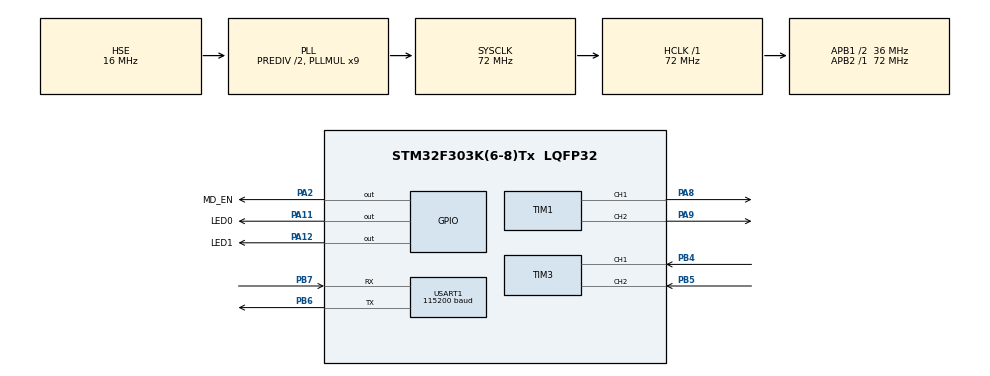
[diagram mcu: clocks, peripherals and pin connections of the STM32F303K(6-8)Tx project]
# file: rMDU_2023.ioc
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Mcu.Family=STM32F3
Mcu.Name=STM32F303K(6-8)Tx
Mcu.Package=LQFP32
NVIC.PriorityGroup=NVIC_PRIORITYGROUP_4
NVIC.TIM2_IRQn=true\:0\:0\:false\:false\:true\:true\:true\:true
NVIC.USART1_IRQn=true\:0\:0\:false\:false\:true\:true\:true\:true
PA11.GPIO_Label=LED0
PA11.Signal=GPIO_Output
PA12.GPIO_Label=LED1
PA12.Signal=GPIO_Output
PA2.GPIO_Label=MD_EN
PA2.Signal=GPIO_Output
PA8.Signal=S_TIM1_CH1
PA9.Signal=S_TIM1_CH2
PB4.Signal=S_TIM3_CH1
PB5.Signal=S_TIM3_CH2
PB6.Mode=Asynchronous
PB6.Signal=USART1_TX
PB7.Mode=Asynchronous
PB7.Signal=USART1_RX
PF0\ /\ OSC_IN.Mode=HSE-External-Oscillator
PF0\ /\ OSC_IN.Signal=RCC_OSC_IN
PF1\ /\ OSC_OUT.Mode=HSE-External-Oscillator
PF1\ /\ OSC_OUT.Signal=RCC_OSC_OUT
ProjectManager.HeapSize=0x200
ProjectManager.StackSize=0x400
ProjectManager.TargetToolchain=STM32CubeIDE
RCC.AHBFreq_Value=72000000
RCC.APB1CLKDivider=RCC_HCLK_DIV2
RCC.APB1Freq_Value=36000000
RCC.APB1TimFreq_Value=72000000
RCC.APB2Freq_Value=72000000
RCC.APB2TimFreq_Value=72000000
RCC.CortexFreq_Value=72000000
RCC.HCLKFreq_Value=72000000
RCC.HSE_VALUE=16000000
RCC.HSI_VALUE=8000000
RCC.PLLMUL=RCC_PLL_MUL9
RCC.PLLSourceVirtual=RCC_PLLSOURCE_HSE
RCC.RCC_PLLsource_Clock_Source_FROM_HSE=RCC_HSE_PREDIV_DIV2
RCC.SYSCLKFreq_VALUE=72000000
RCC.SYSCLKSourceVirtual=RCC_SYSCLKSOURCE_PLLCLK
SH.S_TIM1_CH1.0=TIM1_CH1,PWM Generation1 CH1
SH.S_TIM1_CH2.0=TIM1_CH2,PWM Generation2 CH2
SH.S_TIM3_CH1.0=TIM3_CH1,Encoder_Interface
SH.S_TIM3_CH2.0=TIM3_CH2,Encoder_Interface
TIM1.Channel-PWM\ Generation1\ CH1=TIM_CHANNEL_1
TIM1.Channel-PWM\ Generation2\ CH2=TIM_CHANNEL_2
TIM2.Period=999
TIM2.Prescaler=31
USART1.BaudRate=115200
USART1.VirtualMode-Asynchronous=VM_ASYNC
VP_TIM2_VS_ClockSourceINT.Mode=Internal
board=custom

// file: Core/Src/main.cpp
/* USER CODE BEGIN Header */
/**
  ******************************************************************************
  * @file           : main.c
  * @brief          : Main program body
  ******************************************************************************
  * @attention
  *
  * Copyright (c) 2023 STMicroelectronics.
  * All rights reserved.
  *
  * This software is licensed under terms that can be found in the LICENSE file
  * in the root directory of this software component.
  * If no LICENSE file comes with this software, it is provided AS-IS.
  *
  ******************************************************************************
  */
/* USER CODE END Header */
#include "main.h"

/* USER CODE BEGIN Includes */
#define STM32_NAGA_LIB 1
#include "rotary-encoder.hpp"
#include <cmath>
/* USER CODE END Includes */

 TIM_HandleTypeDef htim1;
TIM_HandleTypeDef htim2;
TIM_HandleTypeDef htim3;

UART_HandleTypeDef huart1;

/* USER CODE BEGIN PV */
uint8_t recv_data[8];
/* USER CODE END PV */

void SystemClock_Config(void);
static void MX_GPIO_Init(void);
static void MX_TIM1_Init(void);
static void MX_TIM3_Init(void);
static void MX_TIM2_Init(void);
static void MX_USART1_UART_Init(void);

/* USER CODE BEGIN 0 */
float kp = 1500;
float ki = 0;

void HAL_UART_RxCpltCallback(UART_HandleTypeDef *huart){
	HAL_UART_Receive_IT(&huart1, recv_data, 8);

	if(recv_data[0] == 0x10 && recv_data[1] == 0x0f) {
		if(recv_data[2] == 0x01) kp = *(float*) (recv_data+4);
		if(recv_data[2] == 0x02) ki = *(float*) (recv_data+4);
	}
}

class MD_t{
	  int32_t val;
	  struct GPIO{
		  GPIO_TypeDef* port;
		  uint16_t pin;
	  }enable;

	  TIM_HandleTypeDef* tim;
	  uint32_t channel_a, channel_b;

public:
	  MD_t(GPIO_TypeDef* _port, uint16_t _pin, TIM_HandleTypeDef* _tim,uint32_t _channel_a, uint32_t _channel_b)
	  : tim(_tim), channel_a(_channel_a), channel_b(_channel_b){
		  enable.port = _port;
		  enable.pin  = _pin;
		  HAL_GPIO_WritePin(enable.port, enable.pin, GPIO_PIN_SET);
		  HAL_TIM_PWM_Start(tim, channel_a);
		  HAL_TIM_PWM_Start(tim, channel_b);
	  }

	  ~MD_t(){
		  HAL_GPIO_WritePin(enable.port, enable.pin, GPIO_PIN_RESET);
		  HAL_TIM_PWM_Stop(tim, TIM_CHANNEL_ALL);
	  }

	  void operator ()(int32_t pwm){
		  if(pwm){
			  __HAL_TIM_SET_COMPARE(tim, (pwm > 0) ? channel_a : channel_b , std::abs(pwm));
			  __HAL_TIM_SET_COMPARE(tim, (pwm < 0) ? channel_a : channel_b, 0);
		  } else {
			  __HAL_TIM_SET_COMPARE(tim, channel_a, 0);
			  __HAL_TIM_SET_COMPARE(tim, channel_b, 0);
		  }
	  }
};
/* USER CODE END 0 */

int main(void)
{

  /* MCU Configuration--------------------------------------------------------*/

  /* Reset of all peripherals, Initializes the Flash interface and the Systick. */
  HAL_Init();

  /* Configure the system clock */
  SystemClock_Config();

  /* Initialize all configured peripherals */
  MX_GPIO_Init();
  MX_TIM1_Init();
  MX_TIM3_Init();
  MX_TIM2_Init();
  MX_USART1_UART_Init();
  /* USER CODE BEGIN 2 */
  size_t down_counter = 0;
  constexpr float resolution = 5120 ;
  constexpr float one_resolution = 1/resolution;
  constexpr float rate       = 100;
  constexpr float dt         = 0.01;

  HAL_TIM_Base_Start_IT(&htim2);
  using namespace naga_libs;

  HAL_GPIO_WritePin(LED0_GPIO_Port, LED0_Pin, GPIO_PIN_SET);

  rotary_encoder_stm32 enc(&htim3);

  union uart_protocol {
	  struct{
		  uint16_t ID;   //ID: 0x10
		  uint16_t cmd;  //cmd: duty: 0x00, current: 0x01, spd_PID: 0x02, pos_PID: 0x03
		  float value;
	  };
	  uint8_t bin[8];
  }msg;

  constexpr uint16_t ID_val = 0x10;
  enum {
	  DUTY,
	  CURRENT,
	  SPD_PID,
	  POS_PID,
	  SET_P = 0xf0,
	  SET_I = 0xf1,
	  SET_D = 0xf2
  };

//  HAL_GPIO_WritePin(MD_EN_GPIO_Port, MD_EN_Pin, GPIO_PIN_SET);
//  HAL_TIM_PWM_Start(&htim1, TIM_CHANNEL_1);
//  HAL_TIM_PWM_Start(&htim1, TIM_CHANNEL_2);
//  __HAL_TIM_SET_COMPARE(&htim1, TIM_CHANNEL_1, 10000);

  MD_t MD(MD_EN_GPIO_Port, MD_EN_Pin, &htim1, TIM_CHANNEL_1, TIM_CHANNEL_2);

  MD(0);

  HAL_UART_Receive_IT(&huart1, recv_data, 8);

  auto PI_spd = [=](float target_spd, float now_spd){
	  static float integral_error = 0;

	  auto clamp = [](float input, float limit){
		  if(input > limit) return limit;
		  if(input < -limit) return -limit;
		  return input;
	  };

	  auto error = target_spd - now_spd;
	  integral_error += error * dt;
	  integral_error = clamp(integral_error, 30000.0/ki);

	  if(target_spd == 0.0f)
		  integral_error = 0.0f;

	  return error * kp + integral_error * ki;
  };

  static uint32_t last_ms = HAL_GetTick();

  /* USER CODE END 2 */

  /* Infinite loop */
  /* USER CODE BEGIN WHILE */
  while (1) {

#define ENC 0
#if ENC
	  static int32_t s = 0;
	  s += (int16_t)enc();
	  HAL_GPIO_WritePin(LED1_GPIO_Port, LED1_Pin, (s > 0) ? GPIO_PIN_SET: GPIO_PIN_RESET);
#endif
	  for(int i = 0; i < 8; i++) msg.bin[i] = recv_data[i];
	  if(msg.ID != ID_val) continue;
#define MD_TEST 0
#if MD_TEST
	  if(msg.cmd != DUTY) continue;
	  MD(10000*msg.value);

#endif

	  constexpr int32_t target_rotate = 14.0/(10.0*M_PI) * 5120.0 * 2;//TODO: NEED TO CHANGE
	  constexpr int32_t one_target_rotate = 3.0/(10.0*M_PI) * 5120.0 * 2;//todo need to change
#define EASY_POS 0
#if EASY_POS
	  if(msg.cmd != DUTY) continue;
	  if(!msg.value) continue;

	  int32_t now_rotate = 0;
	  while(now_rotate < target_rotate) {
		  MD(10000);// NEED TO CHANGE VALUE
		  now_rotate += (int16_t)enc();

		  while(last_ms + 10 > HAL_GetTick());
		  last_ms = HAL_GetTick();
		  now_rotate += (int16_t)enc();
	  }
	  MD(0);
#endif

#define PI 01
#if PI
	  if(msg.cmd != SPD_PID) continue;
	  int32_t now_rotate = 0;
	  if(msg.bin[5] != 0){
		  if((int8_t)msg.bin[5] < 0){
//			  if(down_counter == 0){
//				  while(now_rotate < init_target_rotate){
//
//					  auto enc_val = (int16_t)enc();
//					  now_rotate += enc_val;
//
//					  MD(PI_spd(4.0*M_PI, (float)enc_val * rate * one_resolution));
//
//					  while(last_ms + 10 > HAL_GetTick());
//					  last_ms = HAL_GetTick();
//				  }
//			  } else
			  {
				  while(now_rotate < target_rotate + ((down_counter == 0) ? one_target_rotate : 0)){

					  auto enc_val = (int16_t)enc();
					  now_rotate += enc_val;

					  MD(PI_spd(4.0*M_PI, (float)enc_val * rate * one_resolution));

					  while(last_ms + 10 > HAL_GetTick());
					  last_ms = HAL_GetTick();
				  }
			  }

			  down_counter++;
		  }

		  if((int8_t)msg.bin[5] > 0){
			  for(size_t i = 0; i < down_counter; i++){
				  int32_t now_rotate = 0;
				  while(now_rotate > -target_rotate - ((i == 0) ? one_target_rotate : 0)){

					  auto enc_val = (int16_t)enc();
					  now_rotate += enc_val;

					  MD(PI_spd(-4.0*M_PI, (float)enc_val * rate * one_resolution));

					  while(last_ms + 10 > HAL_GetTick());
					  last_ms = HAL_GetTick();
				  }
			  }
//
//			  int32_t now_rotate = 0;
//			  while(now_rotate > -init_target_rotate && down_counter==1) {
//
//				  auto enc_val = (int16_t)enc();
//				  now_rotate += enc_val;
//
//				  MD(PI_spd(4.0*M_PI, (float)enc_val * rate * one_resolution));
//
//				  while(last_ms + 10 > HAL_GetTick());
//				  last_ms = HAL_GetTick();
//			  }
			  down_counter = 0;
		  }

		  HAL_GPIO_WritePin(LED1_GPIO_Port, LED1_Pin, down_counter ? GPIO_PIN_SET : GPIO_PIN_RESET);

	  }
	  MD(0);
#endif

#define WHILE 0
#if WHILE

	  static int32_t counter;

	  if((int8_t)msg.bin[5] > 0) {
		  counter = 0;
	  }

#endif

    /* USER CODE END WHILE */

  }
}

void SystemClock_Config(void)
{
  RCC_OscInitTypeDef RCC_OscInitStruct = {0};
  RCC_ClkInitTypeDef RCC_ClkInitStruct = {0};
  RCC_PeriphCLKInitTypeDef PeriphClkInit = {0};

  /** Initializes the RCC Oscillators according to the specified parameters
  * in the RCC_OscInitTypeDef structure.
  */
  RCC_OscInitStruct.OscillatorType = RCC_OSCILLATORTYPE_HSE;
  RCC_OscInitStruct.HSEState = RCC_HSE_ON;
  RCC_OscInitStruct.HSEPredivValue = RCC_HSE_PREDIV_DIV2;
  RCC_OscInitStruct.HSIState = RCC_HSI_ON;
  RCC_OscInitStruct.PLL.PLLState = RCC_PLL_ON;
  RCC_OscInitStruct.PLL.PLLSource = RCC_PLLSOURCE_HSE;
  RCC_OscInitStruct.PLL.PLLMUL = RCC_PLL_MUL9;
  if (HAL_RCC_OscConfig(&RCC_OscInitStruct) != HAL_OK)
  {
    Error_Handler();
  }

  /** Initializes the CPU, AHB and APB buses clocks
  */
  RCC_ClkInitStruct.ClockType = RCC_CLOCKTYPE_HCLK|RCC_CLOCKTYPE_SYSCLK
                              |RCC_CLOCKTYPE_PCLK1|RCC_CLOCKTYPE_PCLK2;
  RCC_ClkInitStruct.SYSCLKSource = RCC_SYSCLKSOURCE_PLLCLK;
  RCC_ClkInitStruct.AHBCLKDivider = RCC_SYSCLK_DIV1;
  RCC_ClkInitStruct.APB1CLKDivider = RCC_HCLK_DIV2;
  RCC_ClkInitStruct.APB2CLKDivider = RCC_HCLK_DIV1;

  if (HAL_RCC_ClockConfig(&RCC_ClkInitStruct, FLASH_LATENCY_2) != HAL_OK)
  {
    Error_Handler();
  }
  PeriphClkInit.PeriphClockSelection = RCC_PERIPHCLK_USART1|RCC_PERIPHCLK_TIM1;
  PeriphClkInit.Usart1ClockSelection = RCC_USART1CLKSOURCE_PCLK1;
  PeriphClkInit.Tim1ClockSelection = RCC_TIM1CLK_HCLK;
  if (HAL_RCCEx_PeriphCLKConfig(&PeriphClkInit) != HAL_OK)
  {
    Error_Handler();
  }
}

static void MX_TIM1_Init(void)
{

  TIM_MasterConfigTypeDef sMasterConfig = {0};
  TIM_OC_InitTypeDef sConfigOC = {0};
  TIM_BreakDeadTimeConfigTypeDef sBreakDeadTimeConfig = {0};

  htim1.Instance = TIM1;
  htim1.Init.Prescaler = 0;
  htim1.Init.CounterMode = TIM_COUNTERMODE_UP;
  htim1.Init.Period = 65535;
  htim1.Init.ClockDivision = TIM_CLOCKDIVISION_DIV1;
  htim1.Init.RepetitionCounter = 0;
  htim1.Init.AutoReloadPreload = TIM_AUTORELOAD_PRELOAD_DISABLE;
  if (HAL_TIM_PWM_Init(&htim1) != HAL_OK)
  {
    Error_Handler();
  }
  sMasterConfig.MasterOutputTrigger = TIM_TRGO_RESET;
  sMasterConfig.MasterOutputTrigger2 = TIM_TRGO2_RESET;
  sMasterConfig.MasterSlaveMode = TIM_MASTERSLAVEMODE_DISABLE;
  if (HAL_TIMEx_MasterConfigSynchronization(&htim1, &sMasterConfig) != HAL_OK)
  {
    Error_Handler();
  }
  sConfigOC.OCMode = TIM_OCMODE_PWM1;
  sConfigOC.Pulse = 0;
  sConfigOC.OCPolarity = TIM_OCPOLARITY_HIGH;
  sConfigOC.OCNPolarity = TIM_OCNPOLARITY_HIGH;
  sConfigOC.OCFastMode = TIM_OCFAST_DISABLE;
  sConfigOC.OCIdleState = TIM_OCIDLESTATE_RESET;
  sConfigOC.OCNIdleState = TIM_OCNIDLESTATE_RESET;
  if (HAL_TIM_PWM_ConfigChannel(&htim1, &sConfigOC, TIM_CHANNEL_1) != HAL_OK)
  {
    Error_Handler();
  }
  if (HAL_TIM_PWM_ConfigChannel(&htim1, &sConfigOC, TIM_CHANNEL_2) != HAL_OK)
  {
    Error_Handler();
  }
  sBreakDeadTimeConfig.OffStateRunMode = TIM_OSSR_DISABLE;
  sBreakDeadTimeConfig.OffStateIDLEMode = TIM_OSSI_DISABLE;
  sBreakDeadTimeConfig.LockLevel = TIM_LOCKLEVEL_OFF;
  sBreakDeadTimeConfig.DeadTime = 0;
  sBreakDeadTimeConfig.BreakState = TIM_BREAK_DISABLE;
  sBreakDeadTimeConfig.BreakPolarity = TIM_BREAKPOLARITY_HIGH;
  sBreakDeadTimeConfig.BreakFilter = 0;
  sBreakDeadTimeConfig.Break2State = TIM_BREAK2_DISABLE;
  sBreakDeadTimeConfig.Break2Polarity = TIM_BREAK2POLARITY_HIGH;
  sBreakDeadTimeConfig.Break2Filter = 0;
  sBreakDeadTimeConfig.AutomaticOutput = TIM_AUTOMATICOUTPUT_DISABLE;
  if (HAL_TIMEx_ConfigBreakDeadTime(&htim1, &sBreakDeadTimeConfig) != HAL_OK)
  {
    Error_Handler();
  }
  HAL_TIM_MspPostInit(&htim1);

}

static void MX_TIM2_Init(void)
{

  TIM_ClockConfigTypeDef sClockSourceConfig = {0};
  TIM_MasterConfigTypeDef sMasterConfig = {0};

  htim2.Instance = TIM2;
  htim2.Init.Prescaler = 31;
  htim2.Init.CounterMode = TIM_COUNTERMODE_UP;
  htim2.Init.Period = 999;
  htim2.Init.ClockDivision = TIM_CLOCKDIVISION_DIV1;
  htim2.Init.AutoReloadPreload = TIM_AUTORELOAD_PRELOAD_DISABLE;
  if (HAL_TIM_Base_Init(&htim2) != HAL_OK)
  {
    Error_Handler();
  }
  sClockSourceConfig.ClockSource = TIM_CLOCKSOURCE_INTERNAL;
  if (HAL_TIM_ConfigClockSource(&htim2, &sClockSourceConfig) != HAL_OK)
  {
    Error_Handler();
  }
  sMasterConfig.MasterOutputTrigger = TIM_TRGO_RESET;
  sMasterConfig.MasterSlaveMode = TIM_MASTERSLAVEMODE_DISABLE;
  if (HAL_TIMEx_MasterConfigSynchronization(&htim2, &sMasterConfig) != HAL_OK)
  {
    Error_Handler();
  }

}

static void MX_TIM3_Init(void)
{

  TIM_Encoder_InitTypeDef sConfig = {0};
  TIM_MasterConfigTypeDef sMasterConfig = {0};

  htim3.Instance = TIM3;
  htim3.Init.Prescaler = 0;
  htim3.Init.CounterMode = TIM_COUNTERMODE_UP;
  htim3.Init.Period = 65535;
  htim3.Init.ClockDivision = TIM_CLOCKDIVISION_DIV1;
  htim3.Init.AutoReloadPreload = TIM_AUTORELOAD_PRELOAD_DISABLE;
  sConfig.EncoderMode = TIM_ENCODERMODE_TI1;
  sConfig.IC1Polarity = TIM_ICPOLARITY_RISING;
  sConfig.IC1Selection = TIM_ICSELECTION_DIRECTTI;
  sConfig.IC1Prescaler = TIM_ICPSC_DIV1;
  sConfig.IC1Filter = 0;
  sConfig.IC2Polarity = TIM_ICPOLARITY_RISING;
  sConfig.IC2Selection = TIM_ICSELECTION_DIRECTTI;
  sConfig.IC2Prescaler = TIM_ICPSC_DIV1;
  sConfig.IC2Filter = 0;
  if (HAL_TIM_Encoder_Init(&htim3, &sConfig) != HAL_OK)
  {
    Error_Handler();
  }
  sMasterConfig.MasterOutputTrigger = TIM_TRGO_RESET;
  sMasterConfig.MasterSlaveMode = TIM_MASTERSLAVEMODE_DISABLE;
  if (HAL_TIMEx_MasterConfigSynchronization(&htim3, &sMasterConfig) != HAL_OK)
  {
    Error_Handler();
  }

}

static void MX_USART1_UART_Init(void)
{

  huart1.Instance = USART1;
  huart1.Init.BaudRate = 115200;
  huart1.Init.WordLength = UART_WORDLENGTH_8B;
  huart1.Init.StopBits = UART_STOPBITS_1;
  huart1.Init.Parity = UART_PARITY_NONE;
  huart1.Init.Mode = UART_MODE_TX_RX;
  huart1.Init.HwFlowCtl = UART_HWCONTROL_NONE;
  huart1.Init.OverSampling = UART_OVERSAMPLING_16;
  huart1.Init.OneBitSampling = UART_ONE_BIT_SAMPLE_DISABLE;
  huart1.AdvancedInit.AdvFeatureInit = UART_ADVFEATURE_NO_INIT;
  if (HAL_UART_Init(&huart1) != HAL_OK)
  {
    Error_Handler();
  }

}

static void MX_GPIO_Init(void)
{
  GPIO_InitTypeDef GPIO_InitStruct = {0};

  /* GPIO Ports Clock Enable */
  __HAL_RCC_GPIOF_CLK_ENABLE();
  __HAL_RCC_GPIOA_CLK_ENABLE();
  __HAL_RCC_GPIOB_CLK_ENABLE();

  /*Configure GPIO pin Output Level */
  HAL_GPIO_WritePin(GPIOA, MD_EN_Pin|LED0_Pin|LED1_Pin, GPIO_PIN_RESET);

  /*Configure GPIO pins : MD_EN_Pin LED0_Pin LED1_Pin */
  GPIO_InitStruct.Pin = MD_EN_Pin|LED0_Pin|LED1_Pin;
  GPIO_InitStruct.Mode = GPIO_MODE_OUTPUT_PP;
  GPIO_InitStruct.Pull = GPIO_NOPULL;
  GPIO_InitStruct.Speed = GPIO_SPEED_FREQ_LOW;
  HAL_GPIO_Init(GPIOA, &GPIO_InitStruct);

}

void Error_Handler(void)
{
  __disable_irq();
  while (1)
  {
  }
}
